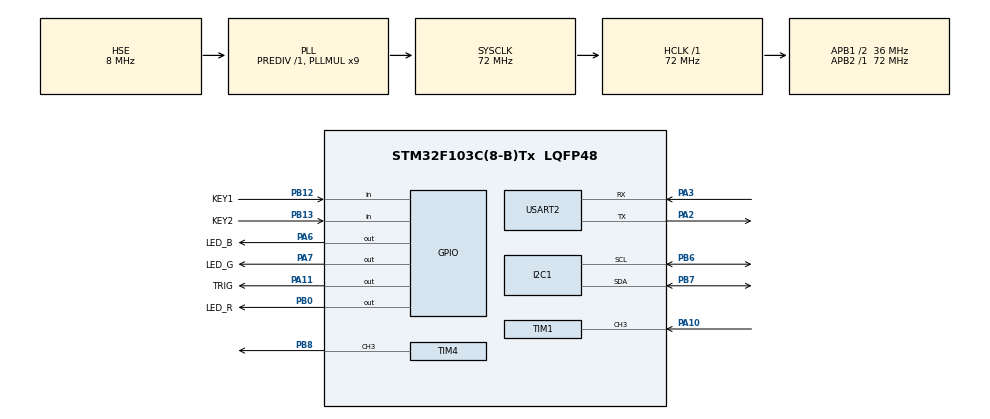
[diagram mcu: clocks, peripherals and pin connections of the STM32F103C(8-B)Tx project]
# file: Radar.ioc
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I2C1.I2C_Mode=I2C_Fast
Mcu.Family=STM32F1
Mcu.Name=STM32F103C(8-B)Tx
Mcu.Package=LQFP48
NVIC.PriorityGroup=NVIC_PRIORITYGROUP_4
NVIC.TIM1_CC_IRQn=true\:0\:0\:false\:false\:true\:true\:true\:true
PA10.Signal=S_TIM1_CH3
PA11.GPIO_Label=TRIG
PA11.Signal=GPIO_Output
PA13.Mode=Serial_Wire
PA13.Signal=SYS_JTMS-SWDIO
PA14.Mode=Serial_Wire
PA14.Signal=SYS_JTCK-SWCLK
PA2.Mode=Asynchronous
PA2.Signal=USART2_TX
PA3.Mode=Asynchronous
PA3.Signal=USART2_RX
PA6.GPIO_Label=LED_B
PA6.Signal=GPIO_Output
PA7.GPIO_Label=LED_G
PA7.Signal=GPIO_Output
PB0.GPIO_Label=LED_R
PB0.Signal=GPIO_Output
PB12.GPIO_Label=KEY1
PB12.GPIO_PuPd=GPIO_PULLUP
PB12.Signal=GPIO_Input
PB13.GPIO_Label=KEY2
PB13.GPIO_PuPd=GPIO_PULLUP
PB13.Signal=GPIO_Input
PB6.Mode=I2C
PB6.Signal=I2C1_SCL
PB7.Mode=I2C
PB7.Signal=I2C1_SDA
PB8.Signal=S_TIM4_CH3
PD0-OSC_IN.Mode=HSE-External-Oscillator
PD0-OSC_IN.Signal=RCC_OSC_IN
PD1-OSC_OUT.Mode=HSE-External-Oscillator
PD1-OSC_OUT.Signal=RCC_OSC_OUT
ProjectManager.HeapSize=0x200
ProjectManager.StackSize=0x400
ProjectManager.TargetToolchain=STM32CubeIDE
RCC.AHBFreq_Value=72000000
RCC.APB1CLKDivider=RCC_HCLK_DIV2
RCC.APB1Freq_Value=36000000
RCC.APB1TimFreq_Value=72000000
RCC.APB2Freq_Value=72000000
RCC.APB2TimFreq_Value=72000000
RCC.HCLKFreq_Value=72000000
RCC.PLLMUL=RCC_PLL_MUL9
RCC.PLLSourceVirtual=RCC_PLLSOURCE_HSE
RCC.SYSCLKFreq_VALUE=72000000
RCC.SYSCLKSource=RCC_SYSCLKSOURCE_PLLCLK
RCC.USBFreq_Value=72000000
SH.S_TIM1_CH3.0=TIM1_CH3,Input_Capture3_from_TI3
SH.S_TIM4_CH3.0=TIM4_CH3,PWM Generation3 CH3
TIM1.Channel-Input_Capture3_from_TI3=TIM_CHANNEL_3
TIM1.Prescaler=71
TIM4.AutoReloadPreload=TIM_AUTORELOAD_PRELOAD_ENABLE
TIM4.Channel-PWM\ Generation3\ CH3=TIM_CHANNEL_3
TIM4.Period=1999
TIM4.Prescaler=719
TIM4.Pulse-PWM\ Generation3\ CH3=150
USART2.VirtualMode=VM_ASYNC
board=custom

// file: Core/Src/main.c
/* USER CODE BEGIN Header */
/**
  ******************************************************************************
  * @file           : main.c
  * @brief          : Main program body
  ******************************************************************************
  * @attention
  *
  * Copyright (c) 2026 STMicroelectronics.
  * All rights reserved.
  *
  * This software is licensed under terms that can be found in the LICENSE file
  * in the root directory of this software component.
  * If no LICENSE file comes with this software, it is provided AS-IS.
  *
  ******************************************************************************
  */
/* USER CODE END Header */
#include "main.h"
#include "i2c.h"
#include "tim.h"
#include "usart.h"
#include "gpio.h"

/* USER CODE BEGIN Includes */
#include "string.h"
#include "stdio.h"
#include "oled.h"
/* USER CODE END Includes */

/* USER CODE BEGIN PV */
/* ===== 超声波测距用变量（TIM1_CH3 输入捕获）=====
 *
 * ⚠️ 为什么必须加 volatile？
 * 这几个变量在【中断服务函数】里被改写，在【主循环】里被读取。
 * 如果没有 volatile，编译器看到主循环里没人修改它，
 * 就会把它缓存进 CPU 寄存器、只读一次 —— 于是主循环永远读到旧值，
 * 表现为"中断明明进了，主循环却看不到新数据"。
 * volatile 就是告诉编译器：每次都老老实实从内存重新读。
 */
volatile uint32_t us_riseTime   = 0;   /* 上升沿时间戳（µs） */
volatile uint32_t us_pulseWidth = 0;   /* ECHO 高电平宽度（µs） */
volatile uint8_t  us_state      = 0;   /* 0 = 等上升沿，1 = 等下降沿 */
volatile uint8_t  us_done       = 0;   /* 1 = 本次测量完成，有新数据 */
volatile uint8_t  us_busy       = 0;   /* 1 = 已触发，正在等回波 */

/* USER CODE END PV */

void SystemClock_Config(void);

/* USER CODE BEGIN 0 */

/* ===================== 雷达扫描参数 ===================== */
#define SCAN_STEP_DEG    10     /* 角度步进（度） */
#define SCAN_POINTS      19     /* 0°~180°，共 19 个采样点 */
#define SCAN_SETTLE_MS   100    /* 舵机到位后等它机械停稳的时间 */
#define SCAN_TRIG_GAP_MS 60     /* 超声波两次触发的最小间隔（HC-SR04 要求 ≥60ms） */
#define US_TIMEOUT_MS    40     /* 单次测距超时 */
#define US_MEDIAN_N      3      /* 每个角度的采样次数，取中值 */

#define SERVO_PULSE_MIN  70     /* 0°   对应的舵机脉宽（收窄过的安全范围） */
#define SERVO_PULSE_MAX  230    /* 180° 对应的舵机脉宽 */

/* 角度(0~180) → 舵机脉宽(70~230) */
static uint16_t angleToPulse(uint16_t deg)
{
  return (uint16_t)(SERVO_PULSE_MIN +
                    (uint32_t)deg * (SERVO_PULSE_MAX - SERVO_PULSE_MIN) / 180);
}

/* 三个数取中值 —— 中值滤波的核心，野值会被自动扔掉
 *
 * 为什么用中值不用平均值？
 *   三次测得 30 / 56 / 31，平均 = 39（❌ 现实里不存在 39cm 的东西）
 *                       中值 = 31（✅ 56 是野值，被剔除且不污染结果）
 * 只要野值不超过一半，中值滤波就能完全剔除它。
 *
 * 3 次比较完成三个数排序，比调 qsort 快得多，也没有函数调用开销。
 */
static uint16_t median3(uint16_t a, uint16_t b, uint16_t c)
{
  uint16_t t;
  if (a > b) { t = a; a = b; b = t; }   /* 让 a ≤ b */
  if (b > c) { t = b; b = c; c = t; }   /* 让 b ≤ c，此时 c 是最大值 */
  if (a > b) { t = a; a = b; b = t; }   /* 再排一次 a、b */
  return b;                              /* 中间那个就是中值 */
}

/* ===================== 雷达图绘制 ===================== */

#define RADAR_CX      64      /* 圆心 x：屏幕水平中心 */
#define RADAR_CY      63      /* 圆心 y：屏幕底边（雷达站在屏幕底部往上看） */
#define RADAR_RADIUS  58      /* 最大显示半径（像素） */
#define RADAR_MAX_CM  100     /* 量程：100cm 映射到 RADAR_RADIUS 像素 */

/* 正弦表 ×1000，索引 = 角度 / 10（0°,10°,...,180°）
 *
 * 为什么不用 sinf()/cosf()？
 *   1. F103C8T6 没有 FPU，浮点三角函数是纯软件实现，一次几十微秒
 *   2. 我们只有 19 个固定角度，查表是 O(1)，而且完全确定
 *   3. 省掉 math.h 和 libm，代码更小
 */
static const int16_t sinTab[SCAN_POINTS] = {
      0,  174,  342,  500,  643,  766,  866,  940,  985, 1000,
    985,  940,  866,  766,  643,  500,  342,  174,    0
};

/* 余弦表：cos(θ) = sin(90° - θ) */
static const int16_t cosTab[SCAN_POINTS] = {
   1000,  985,  940,  866,  766,  643,  500,  342,  174,    0,
   -174, -342, -500, -643, -766, -866, -940, -985,-1000
};

/* 带裁剪的画点 —— 坐标必须先判断再画，否则越界会写坏 OLED 显存 */
static void radarPixel(int x, int y)
{
  if (x < 0 || x > 127 || y < 0 || y > 63) return;
  OLED_SetPixel((uint8_t)x, (uint8_t)y, OLED_COLOR_NORMAL);
}

/* Bresenham 画线（整数运算，带裁剪） */
static void radarLine(int x0, int y0, int x1, int y1)
{
  int dx = (x1 > x0) ? (x1 - x0) : (x0 - x1);
  int dy = (y1 > y0) ? (y1 - y0) : (y0 - y1);
  int sx = (x0 < x1) ? 1 : -1;
  int sy = (y0 < y1) ? 1 : -1;
  int err = dx - dy;
  int e2;

  for (;;)
  {
    radarPixel(x0, y0);
    if (x0 == x1 && y0 == y1) break;
    e2 = 2 * err;
    if (e2 > -dy) { err -= dy; x0 += sx; }
    if (e2 <  dy) { err += dx; y0 += sy; }
  }
}

/* 极坐标 → 屏幕坐标
 *   rad = 半径(像素)，idx = 角度索引(0~18)
 *   θ=90° 永远画在正上方；y 用减号是因为屏幕 y 轴朝下
 *
 * RADAR_FLIP_X = 水平翻转开关（屏幕是俯视图，要和舵机实际指向对上）
 *    1 → 角度索引 0 画在屏幕【左边】
 *   -1 → 角度索引 0 画在屏幕【右边】  ← 舵机安装方向相反时用这个
 *
 * ⚠️ 如果发现雷达图左右和实物相反，只改这一个数字，其他代码不用动。
 */
#define RADAR_FLIP_X  (-1)

static void radarPoint(int rad, int idx, int *px, int *py)
{
  *px = RADAR_CX - (RADAR_FLIP_X * rad * cosTab[idx]) / 1000;
  *py = RADAR_CY - (rad * sinTab[idx]) / 1000;
}

/* 用 19 段短直线拼出一整条弧（OLED 驱动只有画圆，画不了半圆弧） */
static void radarArc(int rad)
{
  int i, px, py, x, y;
  radarPoint(rad, 0, &px, &py);
  for (i = 1; i < SCAN_POINTS; i++)
  {
    radarPoint(rad, i, &x, &y);
    radarLine(px, py, x, y);
    px = x;
    py = y;
  }
}

/* 画一整帧雷达图。sweepIdx = 当前扫描到的角度索引 */
static void radarDraw(const uint16_t *dist, uint8_t sweepIdx)
{
  int i, x, y, r;

  OLED_NewFrame();

  /* 1) 三条距离刻度弧：1/3、2/3、满量程 */
  radarArc(RADAR_RADIUS / 3);
  radarArc(RADAR_RADIUS * 2 / 3);
  radarArc(RADAR_RADIUS);

  /* 2) 两条边界线（0° 和 180°） */
  radarPoint(RADAR_RADIUS, 0, &x, &y);
  radarLine(RADAR_CX, RADAR_CY, x, y);
  radarPoint(RADAR_RADIUS, SCAN_POINTS - 1, &x, &y);
  radarLine(RADAR_CX, RADAR_CY, x, y);

  /* 3) 目标点：距离 → 半径，再转成屏幕坐标 */
  for (i = 0; i < SCAN_POINTS; i++)
  {
    uint16_t d = dist[i];
    if (d == 0 || d > RADAR_MAX_CM) continue;   /* 0 = 无效，超量程不显示 */

    r = (int)d * RADAR_RADIUS / RADAR_MAX_CM;
    radarPoint(r, i, &x, &y);

    /* 画 2×2 的小方块，比单个像素显眼得多 */
    radarPixel(x,     y);
    radarPixel(x + 1, y);
    radarPixel(x,     y + 1);
    radarPixel(x + 1, y + 1);
  }

  /* 4) 扫描线 + 两条余晖（长度递减，形成"拖尾"效果） */
  radarPoint(RADAR_RADIUS, sweepIdx, &x, &y);
  radarLine(RADAR_CX, RADAR_CY, x, y);

  if (sweepIdx >= 2)
  {
    radarPoint(RADAR_RADIUS * 2 / 3, sweepIdx - 1, &x, &y);
    radarLine(RADAR_CX, RADAR_CY, x, y);
    radarPoint(RADAR_RADIUS / 3, sweepIdx - 2, &x, &y);
    radarLine(RADAR_CX, RADAR_CY, x, y);
  }
}

/* USER CODE END 0 */

int main(void)
{

  /* MCU Configuration--------------------------------------------------------*/

  /* Reset of all peripherals, Initializes the Flash interface and the Systick. */
  HAL_Init();

  /* Configure the system clock */
  SystemClock_Config();

  /* Initialize all configured peripherals */
  MX_GPIO_Init();
  MX_I2C1_Init();
  MX_USART2_UART_Init();
  MX_TIM4_Init();
  MX_TIM1_Init();
  /* USER CODE BEGIN 2 */
  printf("\r\n=== boot ===\r\n");

  /* --- I2C 总线扫描：确认 OLED(0x3D) 与 AHT20(0x38) 在位 --- */
  printf("=== I2C Bus Scan ===\r\n");
  uint8_t found = 0;
  for (uint8_t addr = 1; addr < 128; addr++)
  {
      /* HAL 需要 8 位地址，7 位地址必须左移 1 位 */
      if (HAL_I2C_IsDeviceReady(&hi2c1, (uint16_t)(addr << 1), 3, 10) == HAL_OK)
      {
          printf("  found 7-bit: 0x%02X   (8-bit: 0x%02X)\r\n", addr, addr << 1);
          found++;
      }
  }
  if (found == 0) printf("  no device found! check I2C config\r\n");
  printf("=== scan done, %d device(s) ===\r\n\r\n", found);

  /* --- OLED 初始化 --- */
  HAL_Delay(20);   /* STM32 比 OLED 启动快，不延时会导致初始化失败（表现为屏幕偏暗） */
  OLED_Init();

  /* --- 启动舵机 PWM 输出（TIM4_CH3 = PB8，50Hz） --- */
  HAL_TIM_PWM_Start(&htim4, TIM_CHANNEL_3);

  /* --- 启动超声波输入捕获（TIM1_CH3 = PA10） --- */
  HAL_TIM_Base_Start(&htim1);                    /* 启动 TIM1 计数器 */
  HAL_TIM_IC_Start_IT(&htim1, TIM_CHANNEL_3);    /* 启动 CH3 捕获 + 打开捕获中断 */

  /* --- 主循环用的状态变量 --- */
  uint8_t  page         = 0;      /* 当前页面 0=雷达图 1=绘图测试 2=按键说明 */
  uint8_t  pageDrawn    = 0xFF;   /* 已画过的页面；0xFF 表示还没画，强制首帧绘制 */
  uint8_t  radarDirty   = 1;      /* 1 = 雷达图需要重绘（有新数据或刚切到该页） */
  uint32_t lastKeyTick  = 0;
  uint32_t lastBeatTick = 0;
  uint32_t lastTrigTick = 0;      /* 上一次触发超声波测距的时间 */

  /* --- 雷达扫描状态变量 --- */
  uint16_t scanDist[SCAN_POINTS];   /* 各角度的距离(cm)，0 = 无效 */
  uint8_t  scanIdx     = 0;         /* 当前角度索引 0 ~ 18 */
  int8_t   scanDir     = 1;         /* +1 递增 / -1 递减 */
  uint8_t  scanPhase   = 0;         /* 0 = 等舵机稳定，1 = 测距中 */
  uint32_t scanTick    = 0;         /* 进入当前阶段的时间戳 */
  uint16_t usSamples[US_MEDIAN_N];  /* 本角度的 3 次采样值 */
  uint8_t  usSampleCnt = 0;

  /* 上电先把舵机摆到起始角度，并清空数据表 */
  memset(scanDist, 0, sizeof(scanDist));
  __HAL_TIM_SET_COMPARE(&htim4, TIM_CHANNEL_3, angleToPulse(0));
  scanTick = HAL_GetTick();

  /* USER CODE END 2 */

  /* Infinite loop */
  while (1)
  {

    /* USER CODE BEGIN 3 */

    /* ---------- 1. 按键扫描：每 20ms 一次，非阻塞 ---------- */
    if (HAL_GetTick() - lastKeyTick >= 20)
    {
      lastKeyTick = HAL_GetTick();

      static uint8_t last1 = 1, last2 = 1;
      uint8_t now1 = HAL_GPIO_ReadPin(KEY1_GPIO_Port, KEY1_Pin);
      uint8_t now2 = HAL_GPIO_ReadPin(KEY2_GPIO_Port, KEY2_Pin);

      if (last1 == 1 && now1 == 0)        /* KEY1 按下（检测下降沿） */
      {
        page = (page + 1) % 3;
        printf("page -> %d\r\n", page);
      }
      if (last2 == 1 && now2 == 0)        /* KEY2 按下 */
      {
        page = (page + 2) % 3;            /* +2 等价于上一页 */
        printf("page -> %d\r\n", page);
      }
      last1 = now1;
      last2 = now2;
    }

    /* ---------- 2. 页面切换 ----------
     * 0 号页是雷达图，由后面的"雷达刷新"负责（它要随数据变化持续重画）；
     * 1/2 号页是静态页，画一次就不用再管了。
     */
    if (page != pageDrawn)
    {
      pageDrawn = page;

      if (page == 0)
      {
        radarDirty = 1;              /* 切回雷达页，立刻重画一帧 */
      }
      else
      {
        OLED_NewFrame();

        if (page == 1)               /* 绘图测试页 */
        {
          OLED_DrawLine(0, 0, 127, 63, OLED_COLOR_NORMAL);
          OLED_DrawLine(127, 0, 0, 63, OLED_COLOR_NORMAL);
          OLED_DrawCircle(64, 32, 24, OLED_COLOR_NORMAL);
          OLED_DrawFilledCircle(64, 32, 3, OLED_COLOR_NORMAL);
        }
        else                         /* 按键说明页 */
        {
          OLED_PrintString(6, 6,  "KEY1: next", &font16x16, OLED_COLOR_NORMAL);
          OLED_PrintString(6, 26, "KEY2: prev", &font16x16, OLED_COLOR_NORMAL);
        }

        OLED_ShowFrame();
      }
    }

    /* ---------- 3. 雷达扫描状态机（舵机 + 超声波联动，全程非阻塞） ----------
     *
     *  为什么用状态机而不是 for 循环 + HAL_Delay？
     *  for 循环写法：转舵机 → 死等100ms → 死等测距 → 死等推屏 → 下一个角度
     *                每一圈 CPU 有几秒钟纯属空转，按键不响应、心跳不闪。
     *  状态机写法：每圈循环只花几微秒判断"到时间了没"，
     *               没到就直接跳过继续往下跑，CPU 99% 时间空闲待命。
     */
    switch (scanPhase)
    {
      /* ===== 阶段 0：舵机已转向目标角度，等它机械停稳 ===== */
      case 0:
        if (HAL_GetTick() - scanTick >= SCAN_SETTLE_MS)
        {
          usSampleCnt  = 0;
          /* 把"上次触发时间"往回推，让第一次触发能立刻发生 */
          lastTrigTick = HAL_GetTick() - SCAN_TRIG_GAP_MS;
          scanPhase    = 1;
        }
        break;

      /* ===== 阶段 1：在同一角度连测 3 次，取中值 ===== */
      case 1:
      {
        uint8_t sampleReady = 0;

        /* --- 触发一次测距（两次触发之间必须隔够 60ms，否则会收到上一次的余波）--- */
        if (!us_busy && (HAL_GetTick() - lastTrigTick >= SCAN_TRIG_GAP_MS))
        {
          lastTrigTick = HAL_GetTick();
          us_busy  = 1;      /* 标记"测量中"，防止重复触发 */
          us_state = 0;      /* 状态机复位：从"等上升沿"开始 */
          us_done  = 0;

          __HAL_TIM_SET_COUNTER(&htim1, 0);
          __HAL_TIM_SET_CAPTUREPOLARITY(&htim1, TIM_CHANNEL_3, TIM_INPUTCHANNELPOLARITY_RISING);

          /* TRIG：拉高 ≥10µs 再拉低。@72MHz 下这个空循环约 20µs */
          HAL_GPIO_WritePin(TRIG_GPIO_Port, TRIG_Pin, GPIO_PIN_SET);
          for (volatile uint16_t i = 0; i < 100; i++) { __NOP(); }
          HAL_GPIO_WritePin(TRIG_GPIO_Port, TRIG_Pin, GPIO_PIN_RESET);
        }

        /* --- 收集本次结果（成功 或 超时，两种都算"这一次采样结束"）--- */
        if (us_done)
        {
          us_done = 0;
          /* 距离(cm) = 脉宽(µs) × 0.034 ÷ 2 = 脉宽 × 17 ÷ 1000，用整数避免浮点 */
          usSamples[usSampleCnt] = (uint16_t)(us_pulseWidth * 17UL / 1000UL);
          sampleReady = 1;
        }
        else if (us_busy && (HAL_GetTick() - lastTrigTick >= US_TIMEOUT_MS))
        {
          us_busy  = 0;
          us_state = 0;
          __HAL_TIM_SET_CAPTUREPOLARITY(&htim1, TIM_CHANNEL_3, TIM_INPUTCHANNELPOLARITY_RISING);
          usSamples[usSampleCnt] = 0;      /* 0 表示这次没测到 */
          sampleReady = 1;
        }

        /* --- 3 次都测完了：取中值 → 存表 → 换下一个角度 --- */
        if (sampleReady)
        {
          usSampleCnt++;

          if (usSampleCnt >= US_MEDIAN_N)
          {
            /* 中值滤波：野值在这里被扔掉 */
            scanDist[scanIdx] = median3(usSamples[0], usSamples[1], usSamples[2]);

            printf("angle=%3u  d=%3u cm\r\n", scanIdx * SCAN_STEP_DEG, scanDist[scanIdx]);

            radarDirty = 1;      /* 有新数据了，通知下面的雷达刷新重画一帧 */

            /* 推进角度：走到两端就反向，实现来回扫描 */
            if (scanDir > 0 && scanIdx >= SCAN_POINTS - 1)   scanDir = -1;
            else if (scanDir < 0 && scanIdx == 0)            scanDir =  1;
            else                                             scanIdx = (uint8_t)(scanIdx + scanDir);

            /* 舵机转向新角度，回到"等稳定"阶段，开始下一轮 */
            __HAL_TIM_SET_COMPARE(&htim4, TIM_CHANNEL_3, angleToPulse(scanIdx * SCAN_STEP_DEG));
            scanTick  = HAL_GetTick();
            scanPhase = 0;
          }
        }
        break;
      }
    }

    /* ---------- 4. 雷达刷新：只在需要时重画 ----------
     * 每拿到一个新的距离值才重画一帧（约 280ms 一次），而不是每圈循环都画。
     * 整帧推屏要 20~30ms，每圈都刷会把主循环拖垮。
     */
    if (page == 0 && radarDirty)
    {
      radarDirty = 0;
      radarDraw(scanDist, scanIdx);
      OLED_ShowFrame();
    }

    /* ---------- 5. 心跳：每秒一次 ---------- */
    if (HAL_GetTick() - lastBeatTick >= 1000)
    {
      lastBeatTick = HAL_GetTick();
      HAL_GPIO_TogglePin(LED_B_GPIO_Port, LED_B_Pin);
      printf("alive, tick = %u ms, page = %d\r\n", (unsigned)HAL_GetTick(), page);
    }
  }
  /* USER CODE END 3 */
}

void SystemClock_Config(void)
{
  RCC_OscInitTypeDef RCC_OscInitStruct = {0};
  RCC_ClkInitTypeDef RCC_ClkInitStruct = {0};

  /** Initializes the RCC Oscillators according to the specified parameters
  * in the RCC_OscInitTypeDef structure.
  */
  RCC_OscInitStruct.OscillatorType = RCC_OSCILLATORTYPE_HSE;
  RCC_OscInitStruct.HSEState = RCC_HSE_ON;
  RCC_OscInitStruct.HSEPredivValue = RCC_HSE_PREDIV_DIV1;
  RCC_OscInitStruct.HSIState = RCC_HSI_ON;
  RCC_OscInitStruct.PLL.PLLState = RCC_PLL_ON;
  RCC_OscInitStruct.PLL.PLLSource = RCC_PLLSOURCE_HSE;
  RCC_OscInitStruct.PLL.PLLMUL = RCC_PLL_MUL9;
  if (HAL_RCC_OscConfig(&RCC_OscInitStruct) != HAL_OK)
  {
    Error_Handler();
  }

  /** Initializes the CPU, AHB and APB buses clocks
  */
  RCC_ClkInitStruct.ClockType = RCC_CLOCKTYPE_HCLK|RCC_CLOCKTYPE_SYSCLK
                              |RCC_CLOCKTYPE_PCLK1|RCC_CLOCKTYPE_PCLK2;
  RCC_ClkInitStruct.SYSCLKSource = RCC_SYSCLKSOURCE_PLLCLK;
  RCC_ClkInitStruct.AHBCLKDivider = RCC_SYSCLK_DIV1;
  RCC_ClkInitStruct.APB1CLKDivider = RCC_HCLK_DIV2;
  RCC_ClkInitStruct.APB2CLKDivider = RCC_HCLK_DIV1;

  if (HAL_RCC_ClockConfig(&RCC_ClkInitStruct, FLASH_LATENCY_2) != HAL_OK)
  {
    Error_Handler();
  }
}

/* USER CODE BEGIN 4 */

/* ============================================================
 *  超声波输入捕获中断回调
 *
 *  硬件链路：PA10 出现边沿 → TIM1 硬件把当前计数值锁存进 CCR3
 *            → 触发 TIM1_CC 中断 → HAL 调用下面这个函数
 *
 *  单通道测脉宽的核心技巧：在中断里【切换捕获边沿极性】
 *    第 1 次中断（当前极性=上升）→ 记下时间戳，把极性改成"下降"
 *    第 2 次中断（当前极性=下降）→ 算出宽度，把极性改回"上升"
 *
 *  ⚠️ 中断函数里只做"读寄存器 + 置标志"，绝不做 printf 或耗时运算 ——
 *     中断里待太久会拖慢整个系统，导致丢事件。
 * ============================================================ */
void HAL_TIM_IC_CaptureCallback(TIM_HandleTypeDef *htim)
{
  /* 只处理 TIM1 的 CH3，其他定时器/通道的中断直接返回 */
  if (htim->Instance != TIM1 || htim->Channel != HAL_TIM_ACTIVE_CHANNEL_3)
  {
    return;
  }

  uint32_t cap = HAL_TIM_ReadCapturedValue(htim, TIM_CHANNEL_3);

  if (us_state == 0)          /* ---------- 抓到上升沿 ---------- */
  {
    us_riseTime = cap;        /* 记下回波开始的时间戳 */
    us_state    = 1;
    __HAL_TIM_SET_CAPTUREPOLARITY(htim, TIM_CHANNEL_3, TIM_INPUTCHANNELPOLARITY_FALLING);
  }
  else                        /* ---------- 抓到下降沿 ---------- */
  {
    us_pulseWidth = cap - us_riseTime;   /* 结束时间 - 开始时间 = 高电平宽度 */
    us_done  = 1;             /* 通知主循环：有新数据了 */
    us_busy  = 0;             /* 测量结束，可以开始下一次 */
    us_state = 0;
    __HAL_TIM_SET_CAPTUREPOLARITY(htim, TIM_CHANNEL_3, TIM_INPUTCHANNELPOLARITY_RISING);
  }
}

/* printf 重定向到 USART2 */
int _write(int file, char *ptr, int len)
{
    HAL_UART_Transmit(&huart2, (uint8_t *)ptr, len, HAL_MAX_DELAY);
    return len;
}
/* USER CODE END 4 */

void Error_Handler(void)
{
  __disable_irq();
  while (1)
  {
  }
}
